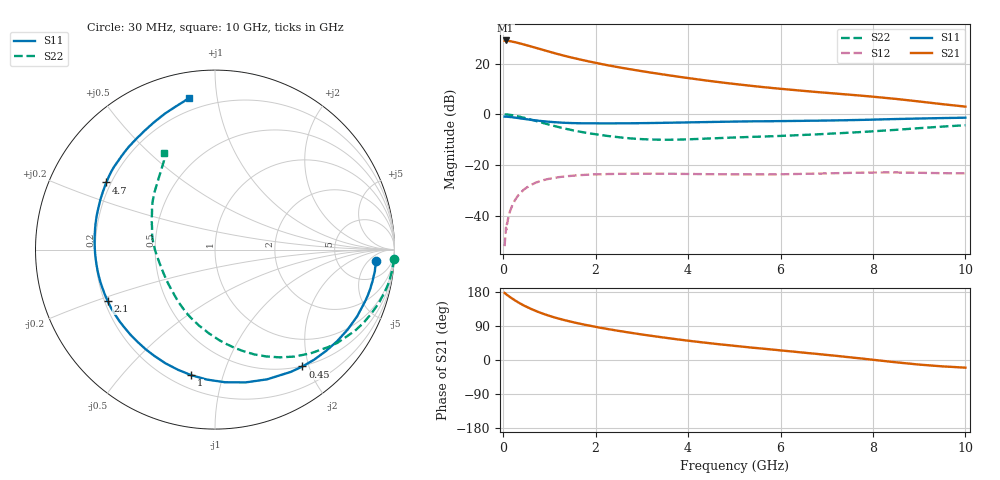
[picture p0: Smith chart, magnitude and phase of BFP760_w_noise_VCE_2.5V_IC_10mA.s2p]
! Infineon Technologies  Discrete & RF Semiconductors
! BFP760
! VCE =  2.5 V,  IC =  10 mA
! Common Emitter S-Parameters:  Nov 2012
# GHz  S  MA  R  50
!  f  S11  S21  S12  S22
! GHz  MAG  ANG  MAG  ANG  MAG  ANG  MAG  ANG
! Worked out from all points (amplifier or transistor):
!   99 points, 30 MHz to 10 GHz, reference 50 ohm
!   highest |S21| = 29.2 dB at 50 MHz (marker M1)
!   |S21| within 3 dB of that: start of sweep to 720.8 MHz
!   unconditionally stable (mu >= 1): 5.474 GHz to end of sweep
!   at 350 MHz: K = 0.13, MSG = 29.7 dB, |S12| = -31.4 dB
!   at 3.5 GHz: K = 0.68, MSG = 19.6 dB, |S12| = -23.5 dB
!   at 10 GHz: K = 1.18, MAG = 10.6 dB, |S12| = -23.3 dB
!   lowest NFmin = 0.48 dB at 900 MHz
!   S11 on the Smith chart (normalised r, x): 30 MHz: 13, -9; 450 MHz: 0.49, -1.90; 1 GHz: 0.28, -0.79; 2.1 GHz: 0.21, -0.22; 4.7 GHz: 0.18, +0.28; 10 GHz: 0.13, +0.84
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0.03  0.9015 -3.9  28.35 177.0  0.0025 86.2  0.9968 -2.9
0.05  0.8979 -6.4  28.7 174.7  0.004 78.5  0.9953 -4.6
0.15  0.8845 -19.1  27.76 165.8  0.0125 79.4  0.9759 -13.7
0.25  0.8629 -31.1  26.58 157.7  0.0199 72.3  0.9417 -22.2
0.35  0.8373 -42.5  25.19 150.3  0.0268 66.6  0.9017 -30.1
0.45  0.8133 -53.2  23.85 143.6  0.0329 61.4  0.8572 -37.3
0.6  0.7789 -68.1  21.87 134.9  0.0404 54.0  0.7863 -47.3
0.7  0.7593 -77.0  20.57 129.7  0.0447 49.7  0.7424 -53.4
0.8  0.7411 -85.7  19.4 124.9  0.0481 45.8  0.7005 -59.0
1  0.7124 -100.6  17.18 116.5  0.0536 39.4  0.624 -69.4
1.3  0.6823 -119.4  14.5 106.0  0.059 32.0  0.5316 -82.8
1.5  0.6713 -129.8  13.06 100.1  0.0614 28.1  0.4851 -90.7
1.7  0.6659 -139.0  11.87 94.7  0.0634 24.9  0.4474 -98.1
2.1  0.6634 -154.5  9.938 85.1  0.0656 19.6  0.3922 -112.6
2.7  0.6654 -172.8  7.887 72.9  0.0671 14.0  0.3384 -132.3
3.4  0.6779 170.2  6.239 60.5  0.0672 9.5  0.3158 -154.3
4  0.6927 158.5  5.197 51.0  0.0665 7.1  0.3211 -170.3
4.7  0.7115 148.3  4.288 41.2  0.0655 5.6  0.3405 176.6
5.1  0.7213 143.8  3.883 36.2  0.0653 5.3  0.3519 170.9
6.7  0.7483 129.6  2.798 17.1  0.0674 5.4  0.3994 151.8
8.5  0.8075 110.2  2.013 -6.1  0.0712 0.5  0.4943 130.4
10  0.8581 99.7  1.419 -20.2  0.0685 -0.7  0.6097 117.5
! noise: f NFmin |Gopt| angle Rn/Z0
0.9  0.48  0.22  28  0.1
1.8  0.54  0.16  58  0.09
2.4  0.59  0.14  85  0.08
3.5  0.73  0.12  129  0.08
5.5  0.97  0.28  -140  0.08
8  1.38  0.41  -95  0.25
